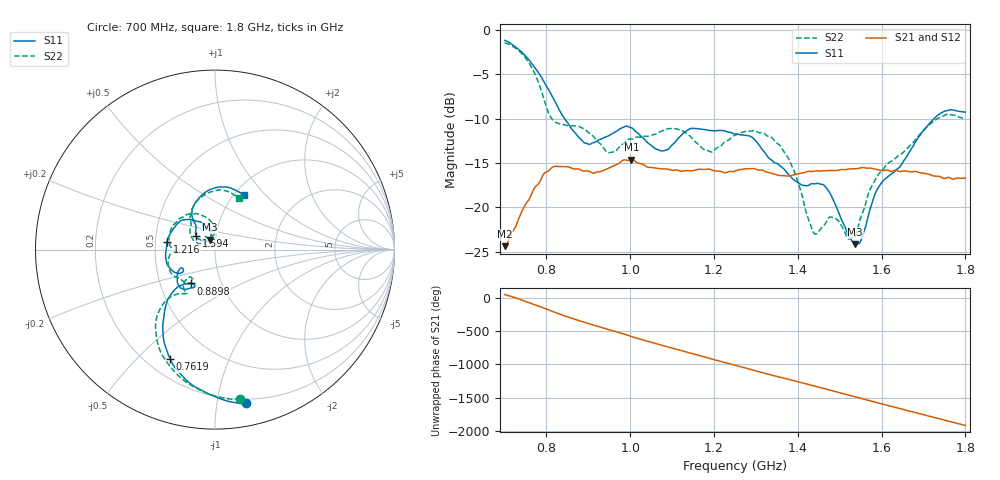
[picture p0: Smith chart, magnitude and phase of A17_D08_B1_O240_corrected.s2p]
! Created with skrf 1.9.0 (http://scikit-rf.org).
# Hz S RI R 50.0
!freq ReS11 ImS11 ReS21 ImS21 ReS12 ImS12 ReS22 ImS22
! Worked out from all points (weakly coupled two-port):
!   1601 points, 700 MHz to 1.8 GHz, reference 50 ohm
!   highest |S21| = -14.61 dB at 1.002 GHz (marker M1); lowest = -24.4 dB at 700 MHz (marker M2)
!   lowest |S11| = -24.2 dB at 1.537 GHz (marker M3), VSWR 1.13, Z = 47 + j5.18 ohm
!   |S11| at or under -10 dB: 843.2 MHz to 1.725 GHz (881.8 MHz wide, 68.7 % of centre)
!   |S22| runs from -23.6 to -1.5 dB; largest |S21 - S12| = 0.0036
!   S11 on the Smith chart (normalised r, x): 700 MHz: 0.17, -1.21; 761.9 MHz: 0.29, -0.63; 889.8 MHz: 0.71, -0.28; 1.216 GHz: 0.58, +0.05; 1.594 GHz: 0.80, +0.12; 1.8 GHz: 1.11, +0.77
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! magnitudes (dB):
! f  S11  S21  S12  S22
! 700 MHz  -1.2  -24.4  -24.2  -1.5
! 761.9 MHz  -3.6  -18.8  -18.7  -4.0
! 814.1 MHz  -7.5  -15.5  -15.5  -10.1
! 883.6 MHz  -12.4  -15.8  -15.7  -11.0
! 889.8 MHz  -12.7  -15.9  -15.9  -11.2
! 948.2 MHz  -11.9  -15.6  -15.6  -13.8
! 1.002 GHz  -11.0  -14.6  -14.7  -12.3
! 1.067 GHz  -13.5  -15.6  -15.6  -11.6
! 1.143 GHz  -11.1  -15.9  -15.9  -12.0
! 1.216 GHz  -11.4  -16.0  -16.0  -13.1
! 1.25 GHz  -11.7  -15.9  -15.8  -11.9
! 1.297 GHz  -12.4  -15.7  -15.7  -11.3
! 1.358 GHz  -15.3  -16.4  -16.4  -13.1
! 1.392 GHz  -17.0  -16.3  -16.3  -16.0
! 1.434 GHz  -17.3  -16.0  -15.9  -22.4
! 1.47 GHz  -17.9  -15.9  -15.9  -21.4
! 1.537 GHz  -24.2  -15.6  -15.6  -23.3
! 1.552 GHz  -23.6  -15.5  -15.6  -20.9
! 1.594 GHz  -17.6  -15.8  -15.8  -16.2
! 1.617 GHz  -16.5  -15.9  -15.8  -15.0
! 1.733 GHz  -9.7  -16.5  -16.5  -10.0
! 1.8 GHz  -9.3  -16.7  -16.7  -10.0
